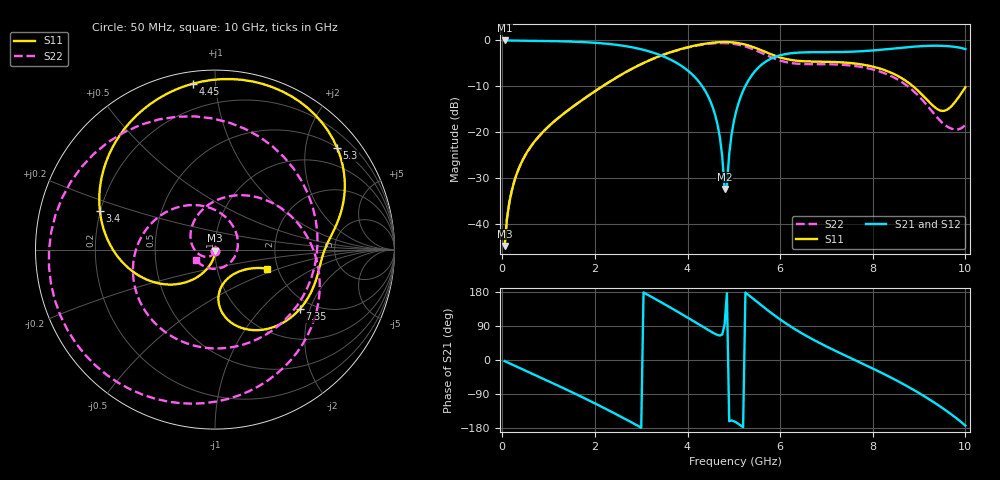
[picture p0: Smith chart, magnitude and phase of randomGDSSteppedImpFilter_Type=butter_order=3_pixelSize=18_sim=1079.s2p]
! freq	dB(S11)	phase(S11)	dB(S12)	phase(S12)
!  dB(S21)	phase(S21)	dB(S22)	phase(S22)
!S-par simulation data
#  GHz  S  DB  R 50
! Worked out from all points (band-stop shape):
!   200 points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, 50 MHz to 10 GHz, reference 50 ohm
!   highest |S21| = -0.01 dB at 50 MHz (marker M1); lowest = -32.3 dB at 4.8 GHz (marker M2)
!   |S21| within 3 dB of the highest: start of sweep to 3.36 GHz; 6.095 GHz to end of sweep
!   lowest |S11| = -44.7 dB at 50 MHz (marker M3), VSWR 1.01, Z = 50 - j0.584 ohm
!   |S11| at or under -10 dB: start of sweep to 2.159 GHz; 8.873 GHz to end of sweep
!   |S22| runs from -44.7 to -0.6 dB; largest |S21 - S12| = 0
!   S11 on the Smith chart (normalised r, x): 50 MHz: 1.00, -0.01; 3.4 GHz: 0.20, +0.16; 4.45 GHz: 0.06, +0.87; 5.3 GHz: 0.51, +2.68; 7.35 GHz: 1.72, -1.71; 10 GHz: 1.76, -0.41
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0.05  -44.68 -87.8  -0.01 -2.8  -0.01 -2.8  -44.73 -91.5
0.2  -32.84 -93.8  -0.02 -11.2  -0.02 -11.2  -32.91 -107.3
0.45  -25.80 -100.3  -0.05 -25.1  -0.05 -25.1  -25.87 -130.6
1.15  -17.35 -115.7  -0.16 -64.5  -0.16 -64.5  -17.35 164.8
1.75  -12.78 -129.7  -0.36 -99.4  -0.36 -99.4  -12.76 108.8
2.65  -6.99 -161.0  -1.22 -155.4  -1.22 -155.4  -6.98 28.4
3.4  -3.39 161.4  -3.15 154.4  -3.15 154.4  -3.42 -34.7
4  -1.49 126.4  -6.51 112.0  -6.51 112.0  -1.56 -85.1
4.45  -0.61 97.7  -12.26 78.8  -12.26 78.8  -0.75 -126.0
4.7  -0.37 80.9  -21.16 64.6  -21.16 64.6  -0.57 -151.5
4.8  -0.35 74.0  -32.29 93.2  -32.29 93.2  -0.58 -162.4
4.85  -0.35 70.5  -31.66 176.1  -31.66 176.1  -0.60 -168.1
5.05  -0.51 56.6  -15.41 -164.7  -15.41 -164.7  -0.82 167.9
5.3  -1.05 39.8  -8.96 173.2  -8.96 173.2  -1.47 134.7
5.6  -2.16 22.5  -5.27 143.8  -5.27 143.8  -2.72 91.1
6  -3.70 7.0  -3.23 107.0  -3.23 107.0  -4.37 31.0
6.7  -4.59 -12.6  -2.56 54.7  -2.56 54.7  -5.16 -55.1
7.35  -4.77 -35.0  -2.51 15.0  -2.51 15.0  -5.30 -111.0
8.35  -6.82 -72.0  -1.87 -43.7  -1.87 -43.7  -7.53 171.8
9.25  -13.70 -79.5  -1.16 -106.1  -1.16 -106.1  -15.06 62.0
9.6  -15.09 -46.7  -1.23 -134.9  -1.23 -134.9  -18.68 -20.5
10  -10.17 -20.0  -1.88 -173.2  -1.88 -173.2  -18.29 -151.9
